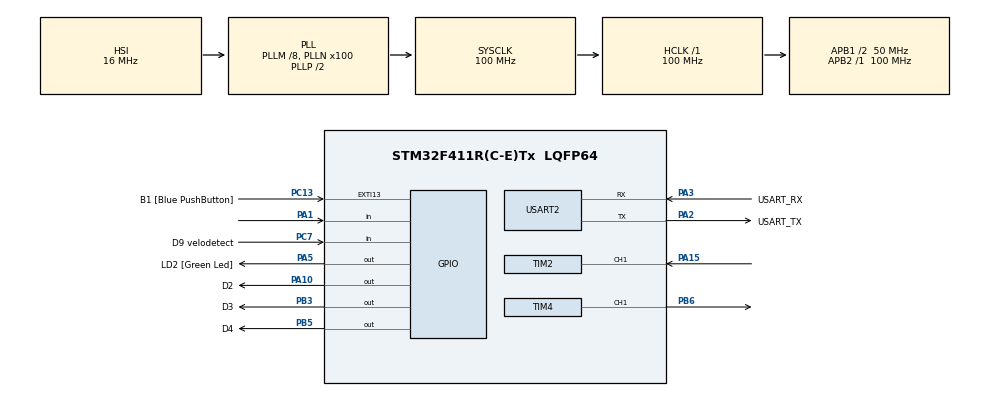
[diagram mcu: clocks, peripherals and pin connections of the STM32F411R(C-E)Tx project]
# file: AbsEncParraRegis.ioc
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Dma.Request0=TIM2_CH1
Dma.TIM2_CH1.0.Direction=DMA_PERIPH_TO_MEMORY
Dma.TIM2_CH1.0.FIFOMode=DMA_FIFOMODE_DISABLE
Dma.TIM2_CH1.0.Instance=DMA1_Stream5
Dma.TIM2_CH1.0.MemDataAlignment=DMA_MDATAALIGN_WORD
Dma.TIM2_CH1.0.MemInc=DMA_MINC_ENABLE
Dma.TIM2_CH1.0.Mode=DMA_CIRCULAR
Dma.TIM2_CH1.0.PeriphDataAlignment=DMA_PDATAALIGN_WORD
Dma.TIM2_CH1.0.PeriphInc=DMA_PINC_DISABLE
Dma.TIM2_CH1.0.Priority=DMA_PRIORITY_LOW
Mcu.Family=STM32F4
Mcu.Name=STM32F411R(C-E)Tx
Mcu.Package=LQFP64
NVIC.DMA1_Stream5_IRQn=true\:0\:0\:false\:false\:true\:false\:true\:true
NVIC.PriorityGroup=NVIC_PRIORITYGROUP_0
NVIC.TIM1_TRG_COM_TIM11_IRQn=true\:0\:0\:false\:false\:true\:true\:true\:true
PA1.Signal=GPIO_Input
PA10.GPIO_Label=D2
PA10.Signal=GPIO_Output
PA13.GPIO_Label=TMS
PA13.Mode=Serial_Wire
PA13.Signal=SYS_JTMS-SWDIO
PA14.GPIO_Label=TCK
PA14.Mode=Serial_Wire
PA14.Signal=SYS_JTCK-SWCLK
PA15.Signal=S_TIM2_CH1_ETR
PA2.GPIO_Label=USART_TX
PA2.Mode=Asynchronous
PA2.Signal=USART2_TX
PA3.GPIO_Label=USART_RX
PA3.Mode=Asynchronous
PA3.Signal=USART2_RX
PA5.GPIO_Label=LD2 [Green Led]
PA5.Signal=GPIO_Output
PB3.GPIO_Label=D3
PB3.Signal=GPIO_Output
PB5.GPIO_Label=D4
PB5.Signal=GPIO_Output
PB6.Signal=S_TIM4_CH1
PC13-ANTI_TAMP.GPIO_Label=B1 [Blue PushButton]
PC13-ANTI_TAMP.GPIO_ModeDefaultEXTI=GPIO_MODE_IT_FALLING
PC13-ANTI_TAMP.Signal=GPXTI13
PC14-OSC32_IN.Mode=LSE-External-Oscillator
PC14-OSC32_IN.Signal=RCC_OSC32_IN
PC15-OSC32_OUT.Mode=LSE-External-Oscillator
PC15-OSC32_OUT.Signal=RCC_OSC32_OUT
PC7.GPIO_Label=D9 velodetect
PC7.Signal=GPIO_Input
PH0\ -\ OSC_IN.Mode=HSE-External-Clock-Source
PH0\ -\ OSC_IN.Signal=RCC_OSC_IN
PH1\ -\ OSC_OUT.Mode=HSE-External-Clock-Source
PH1\ -\ OSC_OUT.Signal=RCC_OSC_OUT
ProjectManager.HeapSize=0x200
ProjectManager.StackSize=0x400
ProjectManager.TargetToolchain=STM32CubeIDE
RCC.48MHZClocksFreq_Value=50000000
RCC.AHBFreq_Value=100000000
RCC.APB1CLKDivider=RCC_HCLK_DIV2
RCC.APB1Freq_Value=50000000
RCC.APB1TimFreq_Value=100000000
RCC.APB2Freq_Value=100000000
RCC.APB2TimFreq_Value=100000000
RCC.CortexFreq_Value=100000000
RCC.FLatency-AdvancedSettings=FLASH_LATENCY_3
RCC.HCLKFreq_Value=100000000
RCC.HSE_VALUE=8000000
RCC.HSI_VALUE=16000000
RCC.PLLM=8
RCC.PLLN=100
RCC.SYSCLKFreq_VALUE=100000000
RCC.SYSCLKSource=RCC_SYSCLKSOURCE_PLLCLK
RCC.VCOOutputFreq_Value=200000000
SH.S_TIM2_CH1_ETR.0=TIM2_CH1,Input_Capture1_from_TI1
SH.S_TIM4_CH1.0=TIM4_CH1,PWM Generation1 CH1
TIM11.Prescaler=99
TIM2.Channel-Input_Capture1_from_TI1=TIM_CHANNEL_1
TIM2.Prescaler=99
TIM4.Channel-PWM\ Generation1\ CH1=TIM_CHANNEL_1
TIM4.Period=9999
USART2.VirtualMode=VM_ASYNC
VP_TIM11_VS_ClockSourceINT.Mode=Enable_Timer
VP_TIM2_VS_ClockSourceINT.Mode=Internal
VP_TIM4_VS_ClockSourceINT.Mode=Internal
board=NUCLEO-F411RE

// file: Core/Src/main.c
/* USER CODE BEGIN Header */
/**
  ******************************************************************************
  * @file           : main.c
  * @brief          : Main program body
  ******************************************************************************
  * @attention
  *
  * Copyright (c) 2022 STMicroelectronics.
  * All rights reserved.
  *
  * This software is licensed under terms that can be found in the LICENSE file
  * in the root directory of this software component.
  * If no LICENSE file comes with this software, it is provided AS-IS.
  *
  ******************************************************************************
  */
/* USER CODE END Header */
#include "main.h"

/* USER CODE BEGIN PD */
#define CAPTURENUM 16 // sample data array size for velo
/* USER CODE END PD */

 TIM_HandleTypeDef htim2;
TIM_HandleTypeDef htim4;
TIM_HandleTypeDef htim11;
DMA_HandleTypeDef hdma_tim2_ch1;

UART_HandleTypeDef huart2;

/* USER CODE BEGIN PV */

uint8_t SHLD, SERCLK, INHCLK, SERIN;    // clk for parraregis drive
uint8_t encResbit = 10;
 //     continuous shift /finished shift/ binary position
uint16_t EnBitlog = 0b0, GrayCBit = 0b0, BinPos = 0b0;
// ParraRegis Shifter
uint32_t timeStampSR =0;
static enum {INIT,SHLDER,SFTER,RESFTER,LATCHING} PRState = INIT;
uint32_t time;
uint64_t timestampve;
static uint8_t SegDigit = 0;

// velo dma input capture
//DMA Buffer
uint32_t capturedata[CAPTURENUM] = { 0 };
//diff time of capture data
int64_t DiffTime[CAPTURENUM-1] = { 0 };
//Mean difftime
float MeanTime =0;
float RoundNum = 0; // num of pulse in 1 min

// velo pulse counter
//float Velo2nd = 0;
//uint8_t fedge[2] = {0}; // RiseFall edge detection
//uint16_t pulseCnt = 0;

//PWM test
uint16_t PWMOut = 3000; // dytycycle = x/10000 % ,TIM4 PB6
uint32_t TimeLoopPWM = 0;
uint64_t _micros = 0;
/* USER CODE END PV */

void SystemClock_Config(void);
static void MX_GPIO_Init(void);
static void MX_USART2_UART_Init(void);
static void MX_DMA_Init(void);
static void MX_TIM2_Init(void);
static void MX_TIM11_Init(void);
static void MX_TIM4_Init(void);
/* USER CODE BEGIN PFP */
void ParraRegisDriveAbsENC(uint8_t encbit);    //
void GraytoBinario(uint16_t grayx,uint8_t numbit);
void encoderSpeedReaderCycle();
void SpeedShaft();
uint64_t micros();
/* USER CODE END PFP */

int main(void)
{

  /* MCU Configuration--------------------------------------------------------*/

  /* Reset of all peripherals, Initializes the Flash interface and the Systick. */
  HAL_Init();

  /* Configure the system clock */
  SystemClock_Config();

  /* Initialize all configured peripherals */
  MX_GPIO_Init();
  MX_USART2_UART_Init();
  MX_DMA_Init();
  MX_TIM2_Init();
  MX_TIM11_Init();
  MX_TIM4_Init();
  /* USER CODE BEGIN 2 */
  HAL_TIM_Base_Start_IT(&htim11);
  HAL_TIM_Base_Start(&htim2);
  HAL_TIM_IC_Start_DMA(&htim2, TIM_CHANNEL_1, (uint32_t*) &capturedata,
  			CAPTURENUM);

  //PWM Test
  HAL_TIM_Base_Start(&htim4);
  HAL_TIM_PWM_Start(&htim4, TIM_CHANNEL_1);

  /* USER CODE END 2 */

  /* Infinite loop */
  while (1)
  {

    /* USER CODE BEGIN 3 */
	  // parraregis driving act as DigitalOUT       // A0 as ser in
	  HAL_GPIO_WritePin(GPIOA, GPIO_PIN_10, SHLD);  // D2
	  HAL_GPIO_WritePin(GPIOB, GPIO_PIN_3, SERCLK); // D3
	  HAL_GPIO_WritePin(GPIOB, GPIO_PIN_5, INHCLK); // D4
	  // escape to PC5 PC6 PC8 from tomer crash

	  //time = HAL_GetTick();
	  time = micros();
	  //if(time-timeStampSR > 3)      // don't use 1
	  if(time-timeStampSR > 2000)      // don't use 1
	          {
	              timeStampSR = time;           //set new time stamp
	              ParraRegisDriveAbsENC(encResbit);   // 166 x 595 Driver
	              if(PRState == LATCHING){
	            	  GraytoBinario(GrayCBit, encResbit);}
	          }

	  encoderSpeedReaderCycle();
	  SpeedShaft();

	  // 2KHz change PWM PB6
	  if(micros() - TimeLoopPWM > 500){
	  		  TimeLoopPWM = micros(); // stamp
	  		  __HAL_TIM_SET_COMPARE(&htim4, TIM_CHANNEL_1, PWMOut);
	  		  //ADC_Target = ADCFeedx[1].datt;
	  	  }
	  /*
	  // foolish edge detect Counter
	  fedge[0] = HAL_GPIO_ReadPin(GPIOC, GPIO_PIN_7); // D9
	  if (fedge[0] - fedge[1] == 1)//rising edge
		{
		  pulseCnt++;

		}
	  fedge[1] = fedge[0]; // shift
	*/

  }

  /* USER CODE END 3 */
}

void SystemClock_Config(void)
{
  RCC_OscInitTypeDef RCC_OscInitStruct = {0};
  RCC_ClkInitTypeDef RCC_ClkInitStruct = {0};

  /** Configure the main internal regulator output voltage
  */
  __HAL_RCC_PWR_CLK_ENABLE();
  __HAL_PWR_VOLTAGESCALING_CONFIG(PWR_REGULATOR_VOLTAGE_SCALE1);

  /** Initializes the RCC Oscillators according to the specified parameters
  * in the RCC_OscInitTypeDef structure.
  */
  RCC_OscInitStruct.OscillatorType = RCC_OSCILLATORTYPE_HSI;
  RCC_OscInitStruct.HSIState = RCC_HSI_ON;
  RCC_OscInitStruct.HSICalibrationValue = RCC_HSICALIBRATION_DEFAULT;
  RCC_OscInitStruct.PLL.PLLState = RCC_PLL_ON;
  RCC_OscInitStruct.PLL.PLLSource = RCC_PLLSOURCE_HSI;
  RCC_OscInitStruct.PLL.PLLM = 8;
  RCC_OscInitStruct.PLL.PLLN = 100;
  RCC_OscInitStruct.PLL.PLLP = RCC_PLLP_DIV2;
  RCC_OscInitStruct.PLL.PLLQ = 4;
  if (HAL_RCC_OscConfig(&RCC_OscInitStruct) != HAL_OK)
  {
    Error_Handler();
  }

  /** Initializes the CPU, AHB and APB buses clocks
  */
  RCC_ClkInitStruct.ClockType = RCC_CLOCKTYPE_HCLK|RCC_CLOCKTYPE_SYSCLK
                              |RCC_CLOCKTYPE_PCLK1|RCC_CLOCKTYPE_PCLK2;
  RCC_ClkInitStruct.SYSCLKSource = RCC_SYSCLKSOURCE_PLLCLK;
  RCC_ClkInitStruct.AHBCLKDivider = RCC_SYSCLK_DIV1;
  RCC_ClkInitStruct.APB1CLKDivider = RCC_HCLK_DIV2;
  RCC_ClkInitStruct.APB2CLKDivider = RCC_HCLK_DIV1;

  if (HAL_RCC_ClockConfig(&RCC_ClkInitStruct, FLASH_LATENCY_3) != HAL_OK)
  {
    Error_Handler();
  }
}

static void MX_TIM2_Init(void)
{

  TIM_ClockConfigTypeDef sClockSourceConfig = {0};
  TIM_MasterConfigTypeDef sMasterConfig = {0};
  TIM_IC_InitTypeDef sConfigIC = {0};

  htim2.Instance = TIM2;
  htim2.Init.Prescaler = 99;
  htim2.Init.CounterMode = TIM_COUNTERMODE_UP;
  htim2.Init.Period = 4294967295;
  htim2.Init.ClockDivision = TIM_CLOCKDIVISION_DIV1;
  htim2.Init.AutoReloadPreload = TIM_AUTORELOAD_PRELOAD_DISABLE;
  if (HAL_TIM_Base_Init(&htim2) != HAL_OK)
  {
    Error_Handler();
  }
  sClockSourceConfig.ClockSource = TIM_CLOCKSOURCE_INTERNAL;
  if (HAL_TIM_ConfigClockSource(&htim2, &sClockSourceConfig) != HAL_OK)
  {
    Error_Handler();
  }
  if (HAL_TIM_IC_Init(&htim2) != HAL_OK)
  {
    Error_Handler();
  }
  sMasterConfig.MasterOutputTrigger = TIM_TRGO_RESET;
  sMasterConfig.MasterSlaveMode = TIM_MASTERSLAVEMODE_DISABLE;
  if (HAL_TIMEx_MasterConfigSynchronization(&htim2, &sMasterConfig) != HAL_OK)
  {
    Error_Handler();
  }
  sConfigIC.ICPolarity = TIM_INPUTCHANNELPOLARITY_RISING;
  sConfigIC.ICSelection = TIM_ICSELECTION_DIRECTTI;
  sConfigIC.ICPrescaler = TIM_ICPSC_DIV1;
  sConfigIC.ICFilter = 0;
  if (HAL_TIM_IC_ConfigChannel(&htim2, &sConfigIC, TIM_CHANNEL_1) != HAL_OK)
  {
    Error_Handler();
  }

}

static void MX_TIM4_Init(void)
{

  TIM_ClockConfigTypeDef sClockSourceConfig = {0};
  TIM_MasterConfigTypeDef sMasterConfig = {0};
  TIM_OC_InitTypeDef sConfigOC = {0};

  htim4.Instance = TIM4;
  htim4.Init.Prescaler = 0;
  htim4.Init.CounterMode = TIM_COUNTERMODE_UP;
  htim4.Init.Period = 9999;
  htim4.Init.ClockDivision = TIM_CLOCKDIVISION_DIV1;
  htim4.Init.AutoReloadPreload = TIM_AUTORELOAD_PRELOAD_DISABLE;
  if (HAL_TIM_Base_Init(&htim4) != HAL_OK)
  {
    Error_Handler();
  }
  sClockSourceConfig.ClockSource = TIM_CLOCKSOURCE_INTERNAL;
  if (HAL_TIM_ConfigClockSource(&htim4, &sClockSourceConfig) != HAL_OK)
  {
    Error_Handler();
  }
  if (HAL_TIM_PWM_Init(&htim4) != HAL_OK)
  {
    Error_Handler();
  }
  sMasterConfig.MasterOutputTrigger = TIM_TRGO_RESET;
  sMasterConfig.MasterSlaveMode = TIM_MASTERSLAVEMODE_DISABLE;
  if (HAL_TIMEx_MasterConfigSynchronization(&htim4, &sMasterConfig) != HAL_OK)
  {
    Error_Handler();
  }
  sConfigOC.OCMode = TIM_OCMODE_PWM1;
  sConfigOC.Pulse = 0;
  sConfigOC.OCPolarity = TIM_OCPOLARITY_HIGH;
  sConfigOC.OCFastMode = TIM_OCFAST_DISABLE;
  if (HAL_TIM_PWM_ConfigChannel(&htim4, &sConfigOC, TIM_CHANNEL_1) != HAL_OK)
  {
    Error_Handler();
  }
  HAL_TIM_MspPostInit(&htim4);

}

static void MX_TIM11_Init(void)
{

  htim11.Instance = TIM11;
  htim11.Init.Prescaler = 99;
  htim11.Init.CounterMode = TIM_COUNTERMODE_UP;
  htim11.Init.Period = 65535;
  htim11.Init.ClockDivision = TIM_CLOCKDIVISION_DIV1;
  htim11.Init.AutoReloadPreload = TIM_AUTORELOAD_PRELOAD_DISABLE;
  if (HAL_TIM_Base_Init(&htim11) != HAL_OK)
  {
    Error_Handler();
  }

}

static void MX_USART2_UART_Init(void)
{

  huart2.Instance = USART2;
  huart2.Init.BaudRate = 115200;
  huart2.Init.WordLength = UART_WORDLENGTH_8B;
  huart2.Init.StopBits = UART_STOPBITS_1;
  huart2.Init.Parity = UART_PARITY_NONE;
  huart2.Init.Mode = UART_MODE_TX_RX;
  huart2.Init.HwFlowCtl = UART_HWCONTROL_NONE;
  huart2.Init.OverSampling = UART_OVERSAMPLING_16;
  if (HAL_UART_Init(&huart2) != HAL_OK)
  {
    Error_Handler();
  }

}

static void MX_DMA_Init(void)
{

  /* DMA controller clock enable */
  __HAL_RCC_DMA1_CLK_ENABLE();

  /* DMA interrupt init */
  /* DMA1_Stream5_IRQn interrupt configuration */
  HAL_NVIC_SetPriority(DMA1_Stream5_IRQn, 0, 0);
  HAL_NVIC_EnableIRQ(DMA1_Stream5_IRQn);

}

static void MX_GPIO_Init(void)
{
  GPIO_InitTypeDef GPIO_InitStruct = {0};

  /* GPIO Ports Clock Enable */
  __HAL_RCC_GPIOC_CLK_ENABLE();
  __HAL_RCC_GPIOH_CLK_ENABLE();
  __HAL_RCC_GPIOA_CLK_ENABLE();
  __HAL_RCC_GPIOB_CLK_ENABLE();

  /*Configure GPIO pin Output Level */
  HAL_GPIO_WritePin(GPIOA, LD2_Pin|D2_Pin, GPIO_PIN_RESET);

  /*Configure GPIO pin Output Level */
  HAL_GPIO_WritePin(GPIOB, D3_Pin|D4_Pin, GPIO_PIN_RESET);

  /*Configure GPIO pin : B1_Pin */
  GPIO_InitStruct.Pin = B1_Pin;
  GPIO_InitStruct.Mode = GPIO_MODE_IT_FALLING;
  GPIO_InitStruct.Pull = GPIO_NOPULL;
  HAL_GPIO_Init(B1_GPIO_Port, &GPIO_InitStruct);

  /*Configure GPIO pin : PA1 */
  GPIO_InitStruct.Pin = GPIO_PIN_1;
  GPIO_InitStruct.Mode = GPIO_MODE_INPUT;
  GPIO_InitStruct.Pull = GPIO_NOPULL;
  HAL_GPIO_Init(GPIOA, &GPIO_InitStruct);

  /*Configure GPIO pins : LD2_Pin D2_Pin */
  GPIO_InitStruct.Pin = LD2_Pin|D2_Pin;
  GPIO_InitStruct.Mode = GPIO_MODE_OUTPUT_PP;
  GPIO_InitStruct.Pull = GPIO_NOPULL;
  GPIO_InitStruct.Speed = GPIO_SPEED_FREQ_LOW;
  HAL_GPIO_Init(GPIOA, &GPIO_InitStruct);

  /*Configure GPIO pin : D9_velodetect_Pin */
  GPIO_InitStruct.Pin = D9_velodetect_Pin;
  GPIO_InitStruct.Mode = GPIO_MODE_INPUT;
  GPIO_InitStruct.Pull = GPIO_NOPULL;
  HAL_GPIO_Init(D9_velodetect_GPIO_Port, &GPIO_InitStruct);

  /*Configure GPIO pins : D3_Pin D4_Pin */
  GPIO_InitStruct.Pin = D3_Pin|D4_Pin;
  GPIO_InitStruct.Mode = GPIO_MODE_OUTPUT_PP;
  GPIO_InitStruct.Pull = GPIO_NOPULL;
  GPIO_InitStruct.Speed = GPIO_SPEED_FREQ_LOW;
  HAL_GPIO_Init(GPIOB, &GPIO_InitStruct);

}

/* USER CODE BEGIN 4 */
void ParraRegisDriveAbsENC(uint8_t encbit){   // sn74hc166x595 drive
    //static enum {INIT,SHLDER,SFTER,RESFTER,LATCHING} PRState = INIT;
    //static uint8_t SegDigit = 0; // count digits that serial data sent
    switch (PRState)
    {
        case INIT: // preparation
        default:
        SHLD = 1; //bar disable
        SERCLK = 0;
        INHCLK = 0;
        //LATCHER = 0;

        SegDigit = 0;
        EnBitlog = 0b0;
        PRState = SHLDER; // go to latcher after preparation
        break;

        case SHLDER:  //7seg = inp; // get parallel out in i66
        SHLD = 0;     // trig parallel get 1 times
        SERCLK = 0;
        INHCLK = 1;   // use inhibit clk to trig / no distrub ser clk
        //LATCHER = 0;

        PRState = SFTER;
        break;

        case SFTER: // send serial
        SHLD = 1;
        INHCLK = 0;
        SERCLK = 1;
        //LATCHER = 0;
        // load data
        SERIN = HAL_GPIO_ReadPin(GPIOA, GPIO_PIN_1);
        //EnBitlog = (EnBitlog << 1)+ SERIN; // shift first bit 2 left
        EnBitlog = (SERIN << SegDigit)+EnBitlog;// shift first bit from right

        SegDigit++;
        if(SegDigit >= encbit + 1){
            PRState = LATCHING; // finish and reshift next dataset
            }
        else{
            PRState = RESFTER; // down clock to shift next serial digit
            }
        break;

        case RESFTER: // down clock before send next digit
        SHLD = 1;
        SERCLK = 0; // down clock
        INHCLK = 0;
        //LATCHER = 0;

        PRState = SFTER;
        break;

        case LATCHING:  // confirm data
        SHLD = 1;
        SERCLK = 0; // down clock
        INHCLK = 0;
        //LATCHER = 1;

        // send complete gray
        // >>1 to cut the first duplicate bit(How tf it comes ?)
        GrayCBit = EnBitlog >> 1;
        PRState = INIT;
        break;

        }//end switch
    }//end void prll

void GraytoBinario(uint16_t grayx,uint8_t numbit){ // numbit=10
//int qd;
//uint16_t gray = 0b0110110100;// gc 01 1011 0100 = 0b 01 0010 0111
uint16_t binaryout = 0b0;

    binaryout = (grayx >> (numbit-1))&0x01;
    //std::cout << binaryout << std::endl;

    for (int i = 1; i < numbit ;i++){
        /* XOR operation */
        int cp1 = binaryout&0x01 ;//>> (numbit-i)
        int cp2 = grayx >> (numbit-(i+1))&0x01; //

        if (cp1 == cp2)
            {binaryout = (binaryout << 1) + 0; } //qd = 0;
        else
            {binaryout = (binaryout << 1) + 1; } //qd = 1;
        //std::cout << "cp" << i << " " << cp1 << cp2 << " " << qd << "  "<<binaryout << std::endl;
    }
    BinPos = binaryout;
    //return binaryout;
}

void encoderSpeedReaderCycle() {
	//get DMA Position form number of data
	uint32_t CapPos =CAPTURENUM -  __HAL_DMA_GET_COUNTER(htim2.hdma[TIM_DMA_ID_CC1]);
	uint32_t sum = 0 ;

	//calculate diff from all buffer except current dma
	for(register int i=2 ;i < CAPTURENUM-1;i++)
	{
		DiffTime[i]  = capturedata[(CapPos+1+i)%CAPTURENUM]-capturedata[(CapPos+i)%CAPTURENUM];
		//Sum all  Diff
		sum += DiffTime[i];
	}

	//mean all Diff
	MeanTime =sum / (float)(CAPTURENUM-3);
}

void SpeedShaft(){

	// Meantime = 1 time period for 1 pulse
	// 60000000 / MeanTime = amount of pulse in 1 minute with that time period
	// 1024 pulse per round

	RoundNum = (60000000.0 / MeanTime)/1024.0; // round per min detect by 1024 clk

	// x pulse detect in 1 msec
	// x/1024 round per 1 x 1000 x 60 min
	/*
	if(micros() - timestampve >= 10000) // 1msec
			{
				timestampve = micros();
				Velo2nd = pulseCnt * (60000.0/2048.0);
				pulseCnt = 0;
			}
	 */
}

// micro timer
uint64_t micros()
{
	return _micros + htim11.Instance->CNT;
}
void HAL_TIM_PeriodElapsedCallback(TIM_HandleTypeDef *htim){
 if(htim == &htim11)
 {
	 _micros += 65535;
 }
}
/* USER CODE END 4 */

void Error_Handler(void)
{
  __disable_irq();
  while (1)
  {
  }
}
